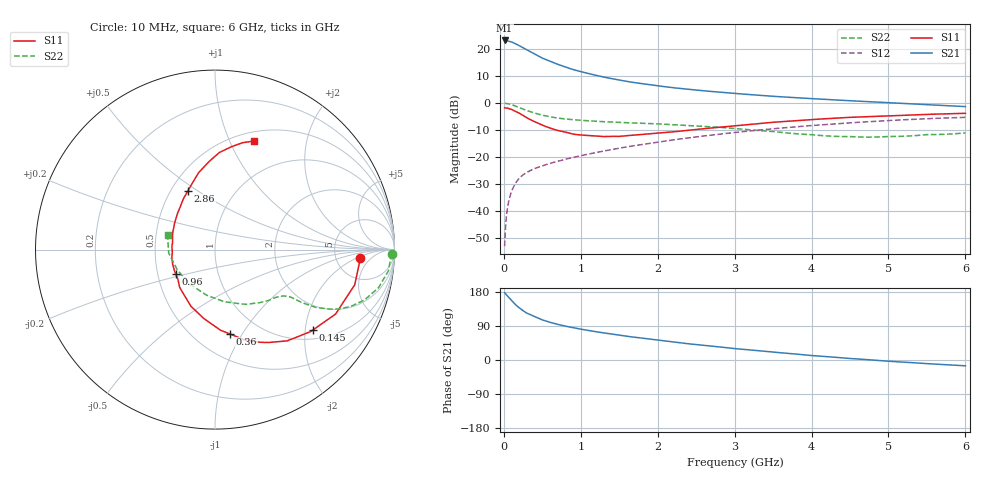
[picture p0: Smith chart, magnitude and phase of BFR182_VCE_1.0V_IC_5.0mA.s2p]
! Infineon Technologies  Discrete & RF Semiconductors
! BFR182
! VCE =  1.0 V,  IC =  5.0 mA
! Common Emitter S-Parameters:  Nov 2015
# GHz  S  MA  R  50
!  f  S11  S21  S12  S22
! GHz  MAG  ANG  MAG  ANG  MAG  ANG  MAG  ANG
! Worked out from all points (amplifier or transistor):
!   210 points, 10 MHz to 6 GHz, reference 50 ohm
!   highest |S21| = 23.2 dB at 10 MHz (marker M1)
!   |S21| within 3 dB of that: start of sweep to 270.7 MHz
!   unconditionally stable (mu >= 1): 994.5 MHz to 3.044 GHz
!   at 185 MHz: K = 0.34, MSG = 25.0 dB, |S12| = -28.5 dB
!   at 1.52 GHz: K = 1.08, MAG = 10.9 dB, |S12| = -16.7 dB
!   at 6 GHz: K = 0.92, MSG = 2.0 dB, |S12| = -5.3 dB
!   S11 on the Smith chart (normalised r, x): 10 MHz: 8.99, -2.39; 145 MHz: 1.24, -2.21; 360 MHz: 0.73, -0.89; 960 MHz: 0.62, -0.18; 2.86 GHz: 0.61, +0.46; 6 GHz: 0.60, +1.24
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0.01  0.8119 -3.2  14.46 177.7  0.0022 92.7  0.9882 -1.4
0.025  0.8055 -7.1  14.38 173.9  0.0057 84.2  0.9789 -3.5
0.05  0.8028 -14.1  14.2 168.2  0.012 81.9  0.9733 -7.0
0.095  0.7639 -26.6  13.64 158.2  0.0218 75.6  0.939 -12.5
0.145  0.7066 -39.2  12.71 147.3  0.0312 69.6  0.8846 -18.0
0.2  0.6481 -51.7  11.63 137.8  0.0402 66.1  0.8259 -22.3
0.24  0.597 -60.1  10.83 131.6  0.0451 63.2  0.7828 -24.7
0.3  0.5302 -71.7  9.684 123.5  0.0516 60.9  0.7212 -27.4
0.36  0.4781 -79.8  8.685 118.3  0.0571 59.4  0.677 -28.8
0.4  0.4497 -86.2  8.066 114.2  0.0608 58.5  0.6477 -29.8
0.5  0.3882 -99.4  6.798 105.9  0.0679 57.4  0.5937 -30.9
0.6  0.3433 -112.9  5.929 99.4  0.0757 57.5  0.5538 -31.5
0.8  0.2882 -133.1  4.632 89.3  0.0903 58.0  0.5039 -32.0
0.96  0.2577 -147.8  3.953 83.0  0.1021 58.7  0.482 -32.8
1.02  0.2534 -154.0  3.752 80.7  0.1065 59.0  0.4748 -33.1
1.4  0.2407 175.7  2.829 68.5  0.1363 59.8  0.4422 -36.3
2.02  0.2761 142.7  2.064 52.0  0.19 58.2  0.4079 -44.3
2.86  0.3602 114.7  1.564 33.2  0.2691 52.5  0.3485 -60.9
3.1  0.388 109.4  1.466 28.4  0.2928 50.2  0.3259 -67.1
4.1  0.502 92.4  1.182 10.4  0.3904 39.6  0.2503 -105.3
5.1  0.5858 79.9  0.996 -4.4  0.4802 27.2  0.2388 -156.3
6  0.6429 70.2  0.857 -15.3  0.541 14.4  0.2771 162.7
